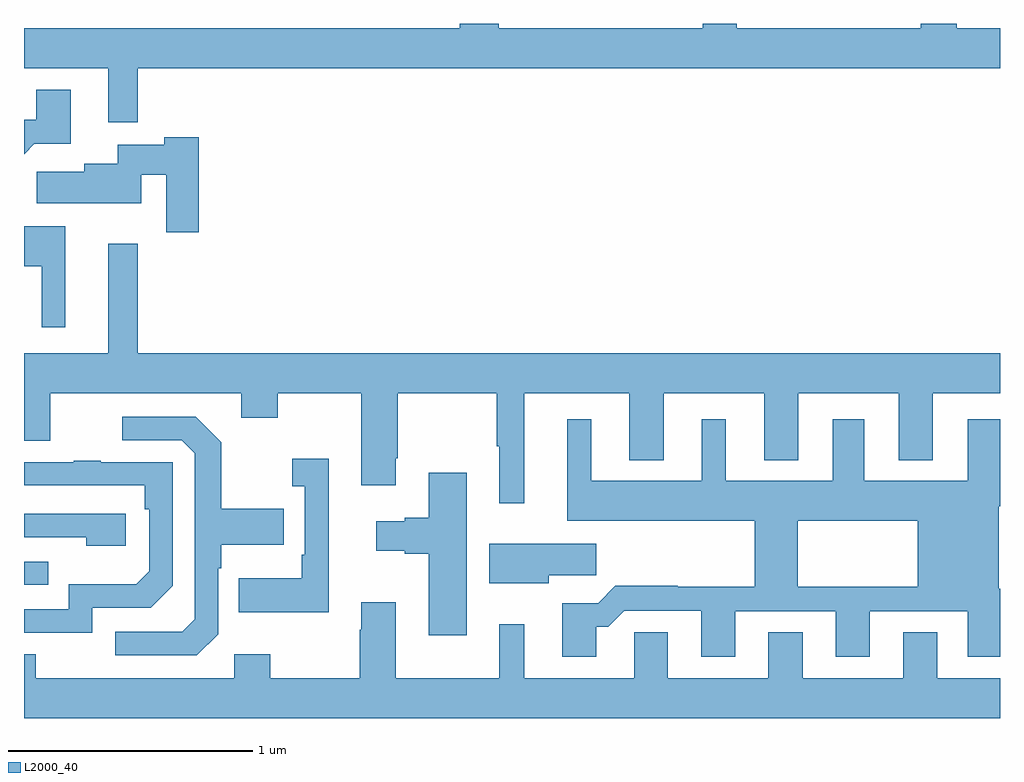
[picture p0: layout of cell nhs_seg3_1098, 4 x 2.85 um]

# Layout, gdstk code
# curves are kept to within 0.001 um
import gdstk
lib = gdstk.Library(unit=1e-6, precision=1e-09)
def R(c, l, rs):  # rectangles x0, y0, x1, y1
    for r in rs: c.add(gdstk.rectangle(r[:2], r[2:], *l))
def P(c, l, *ps):  # polygons
    for p in ps: c.add(gdstk.Polygon(p, *l))
L2000_40 = (2000, 40)

nhs_seg3_1098 = lib.new_cell('nhs_seg3_1098')
R(nhs_seg3_1098, L2000_40, [(167,732.099,167.099,732.195)])
P(nhs_seg3_1098, L2000_40, [(167.467,734.216),(171,734.216),(171,734.38),(170.823,734.38),(170.823,734.4),(170.675,734.4),(170.675,734.38),(169.921,734.38),(169.921,734.4),(169.781,734.4),(169.781,734.38),(168.945,734.38),(168.945,734.4),(168.785,734.4),(168.785,734.38),(167,734.38),(167,734.216),(167.345,734.216),(167.345,733.995),(167.467,733.995)],
  [(167.042,733.907),(167.191,733.907),(167.191,734.128),(167.051,734.128),(167.051,734.005),(167.002,734.005),(167,734.003),(167,733.865)],
  [(167.717,733.933),(167.575,733.933),(167.575,733.903),(167.385,733.903),(167.385,733.825),(167.246,733.825),(167.246,733.793),(167.052,733.793),(167.052,733.664),(167.481,733.664),(167.481,733.781),(167.582,733.781),(167.582,733.545),(167.717,733.545)],
  [(167.17,733.57),(167,733.57),(167,733.406),(167.072,733.406),(167.072,733.155),(167.17,733.155)],
  [(167.467,733.498),(167.345,733.498),(167.345,733.048),(167,733.048),(167,732.69),(167.107,732.69),(167.107,732.884),(167.891,732.884),(167.891,732.785),(168.039,732.785),(168.039,732.884),(168.383,732.884),(168.383,732.507),(168.523,732.507),(168.523,732.619),(168.531,732.619),(168.531,732.884),(168.937,732.884),(168.937,732.668),(168.947,732.668),(168.947,732.435),(169.051,732.435),(169.051,732.884),(169.481,732.884),(169.481,732.611),(169.621,732.611),(169.621,732.884),(170.033,732.884),(170.033,732.611),(170.173,732.611),(170.173,732.884),(170.585,732.884),(170.585,732.611),(170.725,732.611),(170.725,732.884),(171,732.884),(171,733.048),(167.467,733.048)],
  [(167.796,731.898),(167.796,732.167),(167.809,732.167),(167.809,732.263),(168.065,732.263),(168.065,732.411),(167.809,732.411),(167.809,732.683),(167.703,732.789),(167.403,732.789),(167.403,732.693),(167.646,732.693),(167.7,732.639),(167.7,731.958),(167.649,731.907),(167.373,731.907),(167.373,731.811),(167.709,731.811)],
  [(169.679,732.095),(169.424,732.095),(169.354,732.025),(169.205,732.025),(169.205,731.805),(169.345,731.805),(169.345,731.927),(169.394,731.927),(169.461,731.994),(169.775,731.994),(169.775,731.805),(169.915,731.805),(169.915,731.991),(170.327,731.991),(170.327,731.805),(170.467,731.805),(170.467,731.991),(170.867,731.991),(170.867,731.805),(171,731.805),(171,732.084),(170.995,732.084),(170.995,732.422),(171,732.422),(171,732.778),(170.867,732.778),(170.867,732.526),(170.443,732.526),(170.443,732.778),(170.315,732.778),(170.315,732.526),(169.876,732.526),(169.876,732.778),(169.778,732.778),(169.778,732.526),(169.324,732.526),(169.324,732.778),(169.226,732.778),(169.226,732.362),(169.994,732.362),(169.994,732.092),(170.172,732.092),(170.172,732.362),(170.663,732.362),(170.663,732.092),(169.679,732.092)],
  [(168.248,732.616),(168.099,732.616),(168.099,732.503),(168.15,732.503),(168.15,732.223),(168.138,732.223),(168.138,732.127),(167.881,732.127),(167.881,731.987),(168.248,731.987)],
  [(167.28,732.006),(167.52,732.006),(167.61,732.096),(167.61,732.603),(167.315,732.603),(167.315,732.608),(167.203,732.608),(167.203,732.603),(167,732.603),(167,732.507),(167.494,732.507),(167.494,732.41),(167.514,732.41),(167.514,732.156),(167.461,732.103),(167.184,732.103),(167.184,732),(167,732),(167,731.904),(167.28,731.904)],
  [(168.814,732.559),(168.659,732.559),(168.659,732.374),(168.56,732.374),(168.56,732.361),(168.444,732.361),(168.444,732.239),(168.56,732.239),(168.56,732.227),(168.659,732.227),(168.659,731.892),(168.814,731.892)],
  [(167.416,732.39),(167,732.39),(167,732.294),(167.255,732.294),(167.255,732.26),(167.416,732.26)],
  [(169.15,732.139),(169.345,732.139),(169.345,732.268),(168.906,732.268),(168.906,732.107),(169.15,732.107)],
  [(167.862,731.815),(167.862,731.716),(167.049,731.716),(167.049,731.815),(167,731.815),(167,731.552),(171,731.552),(171,731.716),(170.743,731.716),(170.743,731.906),(170.603,731.906),(170.603,731.716),(170.191,731.716),(170.191,731.906),(170.051,731.906),(170.051,731.716),(169.639,731.716),(169.639,731.906),(169.5,731.906),(169.5,731.716),(169.051,731.716),(169.051,731.938),(168.947,731.938),(168.947,731.716),(168.523,731.716),(168.523,732.028),(168.383,732.028),(168.383,731.915),(168.376,731.915),(168.376,731.716),(168.009,731.716),(168.009,731.815)])

lib.write_gds('nhs_seg3_1098.gds')
